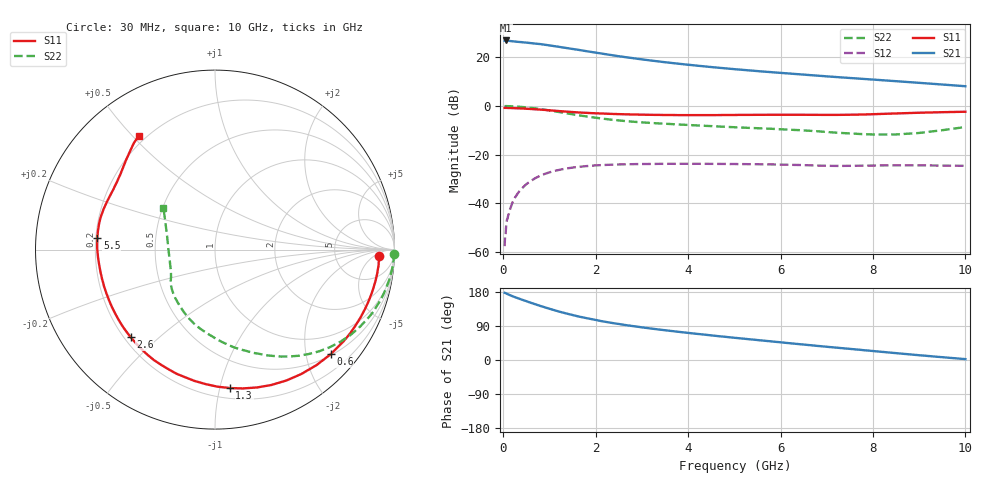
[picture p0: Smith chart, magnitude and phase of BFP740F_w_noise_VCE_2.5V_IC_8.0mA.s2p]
! Infineon Technologies  Discrete & RF Semiconductors
! BFP740F
! VCE =  2.5 V,  IC =  8.0 mA
! Common Emitter S-Parameters:  Oct 2012
# GHz  S  MA  R  50
!  f  S11  S21  S12  S22
! GHz  MAG  ANG  MAG  ANG  MAG  ANG  MAG  ANG
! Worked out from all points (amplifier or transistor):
!   99 points, 30 MHz to 10 GHz, reference 50 ohm
!   highest |S21| = 27.0 dB at 50 MHz (marker M1)
!   |S21| within 3 dB of that: start of sweep to 1.331 GHz
!   unconditionally stable (mu >= 1): 6.899 GHz to end of sweep
!   at 350 MHz: K = 0.07, MSG = 30.7 dB, |S12| = -35.1 dB
!   at 3.5 GHz: K = 0.43, MSG = 20.9 dB, |S12| = -23.8 dB
!   at 10 GHz: K = 1.29, MAG = 13.1 dB, |S12| = -24.6 dB
!   lowest NFmin = 0.42 dB at 450 MHz
!   S11 on the Smith chart (normalised r, x): 30 MHz: 19, -9; 600 MHz: 0.52, -2.50; 1.3 GHz: 0.28, -1.07; 2.6 GHz: 0.23, -0.41; 5.5 GHz: 0.21, +0.05; 10 GHz: 0.17, +0.52
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0.03  0.9168 -2.2  22.19 177.4  0.0013 100.9  0.9965 -1.4
0.05  0.9162 -3.6  22.42 176.5  0.0021 100.6  0.9957 -2.5
0.08  0.9154 -5.9  22.18 174.8  0.0045 87.7  0.9953 -4.0
0.15  0.911 -11.1  21.85 170.9  0.0076 81.6  0.9902 -7.4
0.3  0.899 -21.6  21.09 163.8  0.0152 78.4  0.9725 -14.4
0.4  0.8895 -28.7  20.69 159.4  0.0198 74.3  0.9554 -19.1
0.6  0.8689 -42.2  19.75 150.9  0.0288 65.9  0.9156 -27.9
0.8  0.8435 -55.3  18.89 142.8  0.0367 58.9  0.8665 -36.4
0.9  0.8307 -61.4  18.3 139.0  0.04 55.7  0.8393 -40.4
1.1  0.8032 -73.0  17.15 131.7  0.0459 49.1  0.7825 -48.0
1.3  0.7758 -83.9  16.04 124.8  0.0504 43.5  0.7273 -54.9
1.7  0.7305 -103.1  13.99 113.0  0.0567 34.5  0.6302 -67.1
2.1  0.7035 -118.8  12.16 103.1  0.0606 27.2  0.5578 -78.5
2.6  0.6773 -134.0  10.3 93.1  0.0629 20.4  0.4948 -89.7
3  0.6643 -144.0  9.151 86.2  0.0639 16.3  0.4609 -97.2
3.4  0.6558 -152.6  8.205 80.0  0.0645 12.9  0.4371 -103.6
4.1  0.6504 -165.2  6.933 70.2  0.0645 8.3  0.4029 -112.5
5.1  0.6563 179.6  5.645 57.5  0.0637 3.3  0.3622 -124.5
5.5  0.6593 174.2  5.248 52.7  0.0633 1.6  0.3497 -129.2
6.7  0.6587 157.6  4.291 38.4  0.0598 -1.7  0.306 -143.5
8.5  0.7038 134.7  3.248 18.1  0.0601 -1.7  0.2599 179.0
10  0.763 123.8  2.558 2.3  0.0587 -3.8  0.3698 141.0
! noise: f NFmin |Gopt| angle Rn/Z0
0.45  0.42  0.27  6  0.19
0.9  0.47  0.27  11  0.15
1.5  0.53  0.26  23  0.11
1.9  0.58  0.26  31  0.1
2.4  0.63  0.25  42  0.09
3.5  0.76  0.22  65  0.1
5.5  0.98  0.13  118  0.12
10  1.43  0.38  -121  0.08
